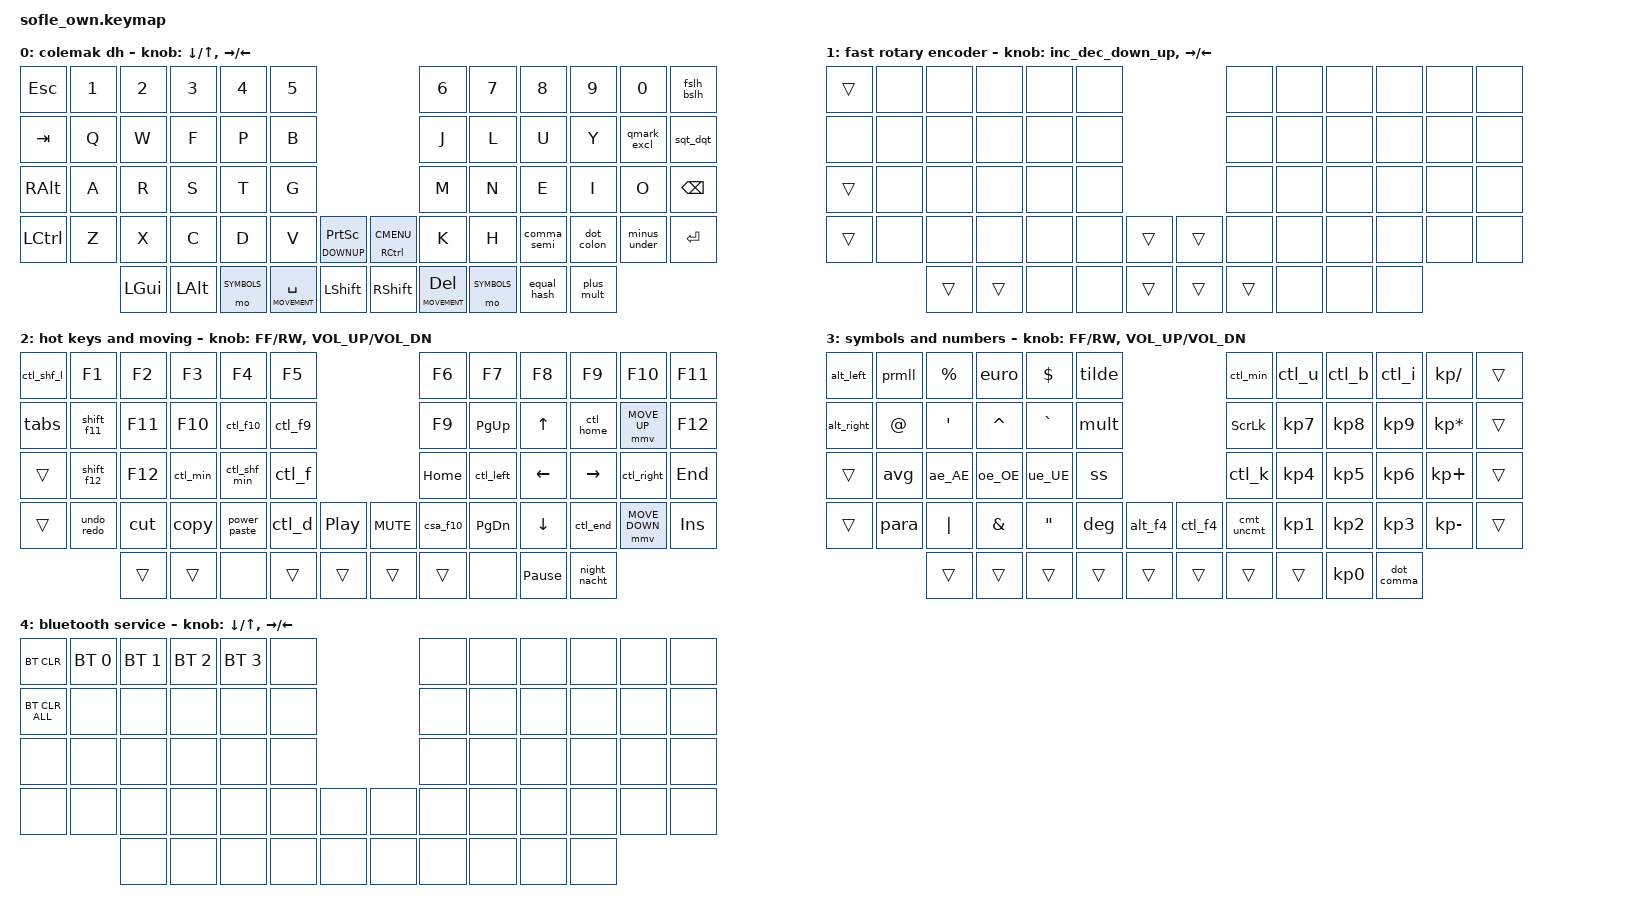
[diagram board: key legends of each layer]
/*
 * Copyright (c) 2020 The ZMK Contributors
 *
 * SPDX-License-Identifier: MIT
 */

#include <behaviors.dtsi>
#include <dt-bindings/zmk/keys.h>
#include <dt-bindings/zmk/bt.h>
#include <dt-bindings/zmk/rgb.h>
#include <dt-bindings/zmk/ext_power.h>

#define ZMK_POINTING_DEFAULT_MOVE_VAL 3000  // default: 600
// #define ZMK_POINTING_DEFAULT_SCRL_VAL 20    // default: 10
#include <dt-bindings/zmk/pointing.h> 

#define BASE 0
#define DOWNUP 1
#define MOVEMENT 2
#define SYMBOLS 3
#define SERVICE 4

#define WAIT_MS 10
#define TAP_MS 10

/ {
    macros {
        euro: euro {
            compatible = "zmk,behavior-macro";
            #binding-cells = <0>;
            wait-ms = <WAIT_MS>;
            tap-ms = <TAP_MS>;
            bindings
                = <&macro_press   &kp LALT>
                , <&macro_tap     &kp KP_N0 &kp KP_N1 &kp KP_N2 &kp KP_N8>
                , <&macro_release &kp LALT>
                ;
        };
        ae: ae { //TODO: adjust timing for äöü
            compatible = "zmk,behavior-macro";
            #binding-cells = <0>;
            wait-ms = <WAIT_MS>;
            tap-ms = <TAP_MS>;
            bindings
                = <&macro_press   &kp LALT>
                , <&macro_tap     &kp KP_N0 &kp KP_N2 &kp KP_N2 &kp KP_N8>
                , <&macro_release &kp LALT>
                ;
        };
        oe: oe {
            compatible = "zmk,behavior-macro";
            #binding-cells = <0>;
            wait-ms = <WAIT_MS>;
            tap-ms = <TAP_MS>;
            bindings
                = <&macro_press   &kp LALT>
                , <&macro_tap     &kp KP_N0 &kp KP_N2 &kp KP_N4 &kp KP_N6>
                , <&macro_release &kp LALT>
                ;
        };
        ue: ue {
            compatible = "zmk,behavior-macro";
            #binding-cells = <0>;
            wait-ms = <WAIT_MS>;
            tap-ms = <TAP_MS>;
            bindings
                = <&macro_press   &kp LALT>
                , <&macro_tap     &kp KP_N0 &kp KP_N2 &kp KP_N5 &kp KP_N2>
                , <&macro_release &kp LALT>
                ;
        };
        _AE: _AE {
            compatible = "zmk,behavior-macro";
            #binding-cells = <0>;
            wait-ms = <WAIT_MS>;
            tap-ms = <TAP_MS>;
            bindings
                = <&macro_press   &kp LALT>
                , <&macro_tap     &kp KP_N0 &kp KP_N1 &kp KP_N9 &kp KP_N6>
                , <&macro_release &kp LALT>
                ;
        };
        _OE: _OE {
            compatible = "zmk,behavior-macro";
            #binding-cells = <0>;
            wait-ms = <WAIT_MS>;
            tap-ms = <TAP_MS>;
            bindings
                = <&macro_press   &kp LALT>
                , <&macro_tap     &kp KP_N1 &kp KP_N5 &kp KP_N3>
                , <&macro_release &kp LALT>
                ;
        };
        _UE: _UE {
            compatible = "zmk,behavior-macro";
            #binding-cells = <0>;
            wait-ms = <WAIT_MS>;
            tap-ms = <TAP_MS>;
            bindings
                = <&macro_press   &kp LALT>
                , <&macro_tap     &kp KP_N0 &kp KP_N2 &kp KP_N2 &kp KP_N0>
                , <&macro_release &kp LALT>
                ;
        };
        ss: ss {
            compatible = "zmk,behavior-macro";
            #binding-cells = <0>;
            wait-ms = <WAIT_MS>;
            tap-ms = <TAP_MS>;
            bindings
                = <&macro_press   &kp LALT>
                , <&macro_tap     &kp KP_N0 &kp KP_N2 &kp KP_N2 &kp KP_N3>
                , <&macro_release &kp LALT>
                ;
        };
        avg: avg {
            compatible = "zmk,behavior-macro";
            #binding-cells = <0>;
            wait-ms = <WAIT_MS>;
            tap-ms = <TAP_MS>;
            bindings
                = <&macro_press   &kp LALT>
                , <&macro_tap     &kp KP_N0 &kp KP_N2 &kp KP_N4 &kp KP_N8>
                , <&macro_release &kp LALT>
                ;
        };
        prmll: prmll {
            compatible = "zmk,behavior-macro";
            #binding-cells = <0>;
            wait-ms = <WAIT_MS>;
            tap-ms = <TAP_MS>;
            bindings
                = <&macro_press   &kp LALT>
                , <&macro_tap     &kp KP_N0 &kp KP_N1 &kp KP_N3 &kp KP_N7>
                , <&macro_release &kp LALT>
                ;
        };
        para: para {
            compatible = "zmk,behavior-macro";
            #binding-cells = <0>;
            wait-ms = <WAIT_MS>;
            tap-ms = <TAP_MS>;
            bindings
                = <&macro_press   &kp LALT>
                , <&macro_tap     &kp KP_N2 &kp KP_N1>
                , <&macro_release &kp LALT>
                ;
        };
        mult: mult {
            compatible = "zmk,behavior-macro";
            #binding-cells = <0>;
            wait-ms = <WAIT_MS>;
            tap-ms = <TAP_MS>;
            bindings
                = <&macro_press   &kp LALT>
                , <&macro_tap     &kp KP_N0 &kp KP_N2 &kp KP_N1 &kp KP_N5>
                , <&macro_release &kp LALT>
                ;
        };
        deg: deg {
            compatible = "zmk,behavior-macro";
            #binding-cells = <0>;
            wait-ms = <WAIT_MS>;
            tap-ms = <TAP_MS>;
            bindings
                = <&macro_press   &kp LALT>
                , <&macro_tap     &kp KP_N0 &kp KP_N1 &kp KP_N7 &kp KP_N6>
                , <&macro_release &kp LALT>
                ;
        };
        tick: tick {
            compatible = "zmk,behavior-macro";
            #binding-cells = <0>;
            wait-ms = <WAIT_MS>;
            tap-ms = <TAP_MS>;
            bindings
                = <&macro_press   &kp LALT>
                , <&macro_tap     &kp KP_N2 &kp KP_N3 &kp KP_N9>
                , <&macro_release &kp LALT>
                ;
        };
        alt_f4: alt_f4 {
            compatible = "zmk,behavior-macro";
            #binding-cells = <0>;
            wait-ms = <WAIT_MS>;
            tap-ms = <TAP_MS>;
            bindings
                = <&macro_press   &kp LALT>
                , <&macro_tap     &kp F4>
                , <&macro_release &kp LALT>
                ;
        };
        ctl_f4: ctl_f4 {
            compatible = "zmk,behavior-macro";
            #binding-cells = <0>;
            wait-ms = <WAIT_MS>;
            tap-ms = <TAP_MS>;
            bindings
                = <&macro_press   &kp LCTRL>
                , <&macro_tap     &kp F4>
                , <&macro_release &kp LCTRL>
                ;
        };
        cut: cut {
            compatible = "zmk,behavior-macro";
            #binding-cells = <0>;
            wait-ms = <WAIT_MS>;
            tap-ms = <TAP_MS>;
            bindings
                = <&macro_press   &kp LCTRL>
                , <&macro_tap     &kp X>
                , <&macro_release &kp LCTRL>
                ;
        };
        copy: copy {
            compatible = "zmk,behavior-macro";
            #binding-cells = <0>;
            wait-ms = <WAIT_MS>;
            tap-ms = <TAP_MS>;
            bindings
                = <&macro_press   &kp LCTRL>
                , <&macro_tap     &kp C>
                , <&macro_release &kp LCTRL>
                ;
        };
        paste: paste {
            compatible = "zmk,behavior-macro";
            #binding-cells = <0>;
            wait-ms = <WAIT_MS>;
            tap-ms = <TAP_MS>;
            bindings
                = <&macro_press   &kp LCTRL>
                , <&macro_tap     &kp V>
                , <&macro_release &kp LCTRL>
                ;
        };
        paste_hist: paste_hist {
            compatible = "zmk,behavior-macro";
            #binding-cells = <0>;
            wait-ms = <WAIT_MS>;
            tap-ms = <TAP_MS>;
            bindings
                = <&macro_press   &kp LGUI>
                , <&macro_tap     &kp V>
                , <&macro_release &kp LGUI>
                ;
        };
        undo: undo {
            compatible = "zmk,behavior-macro";
            #binding-cells = <0>;
            wait-ms = <WAIT_MS>;
            tap-ms = <TAP_MS>;
            bindings
                = <&macro_press   &kp LCTRL>
                , <&macro_tap     &kp Z>
                , <&macro_release &kp LCTRL>
                ;
        };
        redo: redo {
            compatible = "zmk,behavior-macro";
            #binding-cells = <0>;
            wait-ms = <WAIT_MS>;
            tap-ms = <TAP_MS>;
            bindings
                = <&macro_press   &kp LCTRL>
                , <&macro_tap     &kp Y>
                , <&macro_release &kp LCTRL>
                ;
        };
        alt_left: alt_left {
            compatible = "zmk,behavior-macro";
            #binding-cells = <0>;
            wait-ms = <WAIT_MS>;
            tap-ms = <TAP_MS>;
            bindings
                = <&macro_press   &kp LALT>
                , <&macro_tap     &kp LEFT>
                , <&macro_release &kp LALT>
                ;
        };
        alt_right: alt_right {
            compatible = "zmk,behavior-macro";
            #binding-cells = <0>;
            wait-ms = <WAIT_MS>;
            tap-ms = <TAP_MS>;
            bindings
                = <&macro_press   &kp LALT>
                , <&macro_tap     &kp RIGHT>
                , <&macro_release &kp LALT>
                ;
        };
        ctl_left: ctl_left {
            compatible = "zmk,behavior-macro";
            #binding-cells = <0>;
            wait-ms = <WAIT_MS>;
            tap-ms = <TAP_MS>;
            bindings
                = <&macro_press   &kp LCTRL>
                , <&macro_tap     &kp LEFT>
                , <&macro_release &kp LCTRL>
                ;
        };
        ctl_right: ctl_right {
            compatible = "zmk,behavior-macro";
            #binding-cells = <0>;
            wait-ms = <WAIT_MS>;
            tap-ms = <TAP_MS>;
            bindings
                = <&macro_press   &kp LCTRL>
                , <&macro_tap     &kp RIGHT>
                , <&macro_release &kp LCTRL>
                ;
        };
        ctl_home: ctl_home {
            compatible = "zmk,behavior-macro";
            #binding-cells = <0>;
            wait-ms = <WAIT_MS>;
            tap-ms = <TAP_MS>;
            bindings
                = <&macro_press   &kp LCTRL>
                , <&macro_tap     &kp HOME>
                , <&macro_release &kp LCTRL>
                ;
        };
        ctl_end: ctl_end {
            compatible = "zmk,behavior-macro";
            #binding-cells = <0>;
            wait-ms = <WAIT_MS>;
            tap-ms = <TAP_MS>;
            bindings
                = <&macro_press   &kp LCTRL>
                , <&macro_tap     &kp END>
                , <&macro_release &kp LCTRL>
                ;
        };
        left8: left8 {
            compatible = "zmk,behavior-macro";
            #binding-cells = <0>;
            wait-ms = <WAIT_MS>;
            tap-ms = <TAP_MS>;
            bindings
                = <&macro_tap     &kp LEFT>
                , <&macro_tap     &kp LEFT>
                , <&macro_tap     &kp LEFT>
                , <&macro_tap     &kp LEFT>
                , <&macro_tap     &kp LEFT>
                , <&macro_tap     &kp LEFT>
                , <&macro_tap     &kp LEFT>
                , <&macro_tap     &kp LEFT>
                ;
        };
        right8: right8 {
            compatible = "zmk,behavior-macro";
            #binding-cells = <0>;
            wait-ms = <WAIT_MS>;
            tap-ms = <TAP_MS>;
            bindings
                = <&macro_tap     &kp RIGHT>
                , <&macro_tap     &kp RIGHT>
                , <&macro_tap     &kp RIGHT>
                , <&macro_tap     &kp RIGHT>
                , <&macro_tap     &kp RIGHT>
                , <&macro_tap     &kp RIGHT>
                , <&macro_tap     &kp RIGHT>
                , <&macro_tap     &kp RIGHT>
                ;
        };
        up8: up8 {
            compatible = "zmk,behavior-macro";
            #binding-cells = <0>;
            wait-ms = <WAIT_MS>;
            tap-ms = <TAP_MS>;
            bindings
                = <&macro_tap     &kp UP>
                , <&macro_tap     &kp UP>
                , <&macro_tap     &kp UP>
                , <&macro_tap     &kp UP>
                , <&macro_tap     &kp UP>
                , <&macro_tap     &kp UP>
                , <&macro_tap     &kp UP>
                , <&macro_tap     &kp UP>
                ;
        };
        down8: down8 {
            compatible = "zmk,behavior-macro";
            #binding-cells = <0>;
            wait-ms = <WAIT_MS>;
            tap-ms = <TAP_MS>;
            bindings
                = <&macro_tap     &kp DOWN>
                , <&macro_tap     &kp DOWN>
                , <&macro_tap     &kp DOWN>
                , <&macro_tap     &kp DOWN>
                , <&macro_tap     &kp DOWN>
                , <&macro_tap     &kp DOWN>
                , <&macro_tap     &kp DOWN>
                , <&macro_tap     &kp DOWN>
                ;
        };
        ctl_f9: ctl_f9 {
            compatible = "zmk,behavior-macro";
            #binding-cells = <0>;
            wait-ms = <WAIT_MS>;
            tap-ms = <TAP_MS>;
            bindings
                = <&macro_press   &kp LCTRL>
                , <&macro_tap     &kp F9>
                , <&macro_release &kp LCTRL>
                ;
        };
        ctl_f10: ctl_f10 {
            compatible = "zmk,behavior-macro";
            #binding-cells = <0>;
            wait-ms = <WAIT_MS>;
            tap-ms = <TAP_MS>;
            bindings
                = <&macro_press   &kp LCTRL>
                , <&macro_tap     &kp F10>
                , <&macro_release &kp LCTRL>
                ;
        };
        csa_f10: csa_f10 {
            compatible = "zmk,behavior-macro";
            #binding-cells = <0>;
            wait-ms = <WAIT_MS>;
            tap-ms = <TAP_MS>;
            bindings
                = <&macro_press   &kp LCTRL>
                , <&macro_press   &kp LSHFT>
                , <&macro_press   &kp LALT>
                , <&macro_tap     &kp F10>
                , <&macro_release &kp LALT>
                , <&macro_release &kp LSHFT>
                , <&macro_release &kp LCTRL>
                ;
        };
        shift_f11: shift_f11 {
            compatible = "zmk,behavior-macro";
            #binding-cells = <0>;
            wait-ms = <WAIT_MS>;
            tap-ms = <TAP_MS>;
            bindings
                = <&macro_press   &kp LSHFT>
                , <&macro_tap     &kp F11>
                , <&macro_release &kp LSHFT>
                ;
        };
        shift_f12: shift_f12 {
            compatible = "zmk,behavior-macro";
            #binding-cells = <0>;
            wait-ms = <WAIT_MS>;
            tap-ms = <TAP_MS>;
            bindings
                = <&macro_press   &kp LSHFT>
                , <&macro_tap     &kp F12>
                , <&macro_release &kp LSHFT>
                ;
        };
        ctl_min: ctl_min {
            compatible = "zmk,behavior-macro";
            #binding-cells = <0>;
            wait-ms = <WAIT_MS>;
            tap-ms = <TAP_MS>;
            bindings
                = <&macro_press   &kp LCTRL>
                , <&macro_tap     &kp MINUS>
                , <&macro_release &kp LCTRL>
                ;
        };
        ctl_shf_min: ctl_shf_min {
            compatible = "zmk,behavior-macro";
            #binding-cells = <0>;
            wait-ms = <WAIT_MS>;
            tap-ms = <TAP_MS>;
            bindings
                = <&macro_press   &kp LCTRL>
                , <&macro_press   &kp LSHFT>
                , <&macro_tap     &kp MINUS>
                , <&macro_release &kp LSHFT>
                , <&macro_release &kp LCTRL>
                ;
        };
        ctl_shf_l: ctl_shf_l {
            compatible = "zmk,behavior-macro";
            #binding-cells = <0>;
            wait-ms = <WAIT_MS>;
            tap-ms = <TAP_MS>;
            bindings
                = <&macro_press   &kp LCTRL>
                , <&macro_press   &kp LSHFT>
                , <&macro_tap     &kp L>
                , <&macro_release &kp LSHFT>
                , <&macro_release &kp LCTRL>
                ;
        };
        ctl_f: ctl_f {
            compatible = "zmk,behavior-macro";
            #binding-cells = <0>;
            wait-ms = <WAIT_MS>;
            tap-ms = <TAP_MS>;
            bindings
                = <&macro_press   &kp LCTRL>
                , <&macro_tap     &kp F>
                , <&macro_release &kp LCTRL>
                ;
        };
        ctl_d: ctl_d {
            compatible = "zmk,behavior-macro";
            #binding-cells = <0>;
            wait-ms = <WAIT_MS>;
            tap-ms = <TAP_MS>;
            bindings
                = <&macro_press   &kp LCTRL>
                , <&macro_tap     &kp D>
                , <&macro_release &kp LCTRL>
                ;
        };
        ctl_u: ctl_u {
            compatible = "zmk,behavior-macro";
            #binding-cells = <0>;
            wait-ms = <WAIT_MS>;
            tap-ms = <TAP_MS>;
            bindings
                = <&macro_press   &kp LCTRL>
                , <&macro_tap     &kp U>
                , <&macro_release &kp LCTRL>
                ;
        };
        ctl_b: ctl_b {
            compatible = "zmk,behavior-macro";
            #binding-cells = <0>;
            wait-ms = <WAIT_MS>;
            tap-ms = <TAP_MS>;
            bindings
                = <&macro_press   &kp LCTRL>
                , <&macro_tap     &kp B>
                , <&macro_release &kp LCTRL>
                ;
        };
        ctl_i: ctl_i {
            compatible = "zmk,behavior-macro";
            #binding-cells = <0>;
            wait-ms = <WAIT_MS>;
            tap-ms = <TAP_MS>;
            bindings
                = <&macro_press   &kp LCTRL>
                , <&macro_tap     &kp I>
                , <&macro_release &kp LCTRL>
                ;
        };
        ctl_k: ctl_k {
            compatible = "zmk,behavior-macro";
            #binding-cells = <0>;
            wait-ms = <WAIT_MS>;
            tap-ms = <TAP_MS>;
            bindings
                = <&macro_press   &kp LCTRL>
                , <&macro_tap     &kp K>
                , <&macro_release &kp LCTRL>
                ;
        };
        ctl_k_c: ctl_k_c {
            compatible = "zmk,behavior-macro";
            #binding-cells = <0>;
            wait-ms = <WAIT_MS>;
            tap-ms = <TAP_MS>;
            bindings
                = <&macro_press   &kp LCTRL>
                , <&macro_tap     &kp K>
                , <&macro_tap     &kp C>
                , <&macro_release &kp LCTRL>
                ;
        };
        ctl_k_u: ctl_k_u {
            compatible = "zmk,behavior-macro";
            #binding-cells = <0>;
            wait-ms = <WAIT_MS>;
            tap-ms = <TAP_MS>;
            bindings
                = <&macro_press   &kp LCTRL>
                , <&macro_tap     &kp K>
                , <&macro_tap     &kp U>
                , <&macro_release &kp LCTRL>
                ;
        };
        nacht: nacht {
            compatible = "zmk,behavior-macro";
            #binding-cells = <0>;
            wait-ms = <WAIT_MS>;
            tap-ms = <TAP_MS>;
            bindings
                = <&macro_wait_time 300>
                , <&kp LGUI>
                , <&macro_wait_time WAIT_MS>
                , <&kp N &kp A &kp C &kp H &kp T &kp M &kp O &kp D &kp U &kp S>
                ;
        };
        night: night {
            compatible = "zmk,behavior-macro";
            #binding-cells = <0>;
            wait-ms = <WAIT_MS>;
            tap-ms = <TAP_MS>;
            bindings
                = <&macro_wait_time 300>
                , <&kp LGUI>
                , <&macro_wait_time WAIT_MS>
                , <&kp N &kp I &kp G &kp H &kp T>
                ;
        };
        tabs: tabs {
            compatible = "zmk,behavior-macro";
            #binding-cells = <0>;
            wait-ms = <WAIT_MS>;
            tap-ms = <TAP_MS>;
            bindings
                = <&kp TAB &kp TAB &kp TAB &kp TAB &kp TAB>
                ;
        };
        sqt_space: sqt_space {
            compatible = "zmk,behavior-macro";
            #binding-cells = <0>;
            wait-ms = <WAIT_MS>;
            tap-ms = <TAP_MS>;
            bindings
                = <&kp SQT &kp SPACE>
                ;
        };
        dqt_space: dqt_space {
            compatible = "zmk,behavior-macro";
            #binding-cells = <0>;
            wait-ms = <WAIT_MS>;
            tap-ms = <TAP_MS>;
            bindings
                = <&kp DQT &kp SPACE>
                ;
        };
        tilde: tilde {
            compatible = "zmk,behavior-macro";
            #binding-cells = <0>;
            wait-ms = <WAIT_MS>;
            tap-ms = <TAP_MS>;
            bindings
                = <&kp TILDE &kp SPACE>
                ;
        };
    };
};

/ {
    behaviors {
        power_paste: power_paste {
            compatible = "zmk,behavior-mod-morph";
            #binding-cells = <0>;
            bindings = <&paste>, <&paste_hist>;
            mods = <(MOD_LSFT|MOD_RSFT)>;
        };
        night_nacht: night_nacht {
            compatible = "zmk,behavior-mod-morph";
            #binding-cells = <0>;
            bindings = <&night>, <&nacht>;
            mods = <(MOD_LSFT|MOD_RSFT)>;
        };
        ae_AE: ae_AE {
            compatible = "zmk,behavior-mod-morph";
            #binding-cells = <0>;
            bindings = <&ae>, <&_AE>;
            mods = <(MOD_LSFT|MOD_RSFT)>;
        };
        oe_OE: oe_OE {
            compatible = "zmk,behavior-mod-morph";
            #binding-cells = <0>;
            bindings = <&oe>, <&_OE>;
            mods = <(MOD_LSFT|MOD_RSFT)>;
        };
        ue_UE: ue_UE {
            compatible = "zmk,behavior-mod-morph";
            #binding-cells = <0>;
            bindings = <&ue>, <&_UE>;
            mods = <(MOD_LSFT|MOD_RSFT)>;
        };
        mo_tog: behavior_mo_tog {
            compatible = "zmk,behavior-hold-tap";
            #binding-cells = <2>;
            flavor = "hold-preferred";
            tapping-term-ms = <200>;
            bindings = <&mo>, <&tog>;
        };
        comma_semi: comma_semi {
            compatible = "zmk,behavior-mod-morph";
            #binding-cells = <0>;
            bindings = <&kp COMMA>, <&kp SEMI>;
            mods = <(MOD_LSFT|MOD_RSFT)>;
        };
        dot_colon: dot_colon {
            compatible = "zmk,behavior-mod-morph";
            #binding-cells = <0>;
            bindings = <&kp DOT>, <&kp COLON>;
            mods = <(MOD_LSFT|MOD_RSFT)>;
        };
        fslh_bslh: fslh_bslh {
            compatible = "zmk,behavior-mod-morph";
            #binding-cells = <0>;
            bindings = <&kp KP_SLASH>, <&kp BSLH>;
            mods = <(MOD_LSFT|MOD_RSFT)>;
        };
        qmark_excl: qmark_excl {
            compatible = "zmk,behavior-mod-morph";
            #binding-cells = <0>;
            bindings = <&kp QMARK>, <&kp EXCL>;
            mods = <(MOD_LSFT|MOD_RSFT)>;
        };
        sqt_dqt: sqt_dqt {
            compatible = "zmk,behavior-mod-morph";
            #binding-cells = <0>;
            bindings = <&sqt_space>, <&dqt_space>;
            mods = <(MOD_LSFT|MOD_RSFT)>;
        };
        minus_under: minus_under {
            compatible = "zmk,behavior-mod-morph";
            #binding-cells = <0>;
            bindings = <&kp MINUS>, <&kp UNDER>;
            mods = <(MOD_LSFT|MOD_RSFT)>;
        };
        equal_hash: equal_hash {
            compatible = "zmk,behavior-mod-morph";
            #binding-cells = <0>;
            bindings = <&kp EQUAL>, <&kp HASH>;
            mods = <(MOD_LSFT|MOD_RSFT)>;
        };
        plus_mult: plus_mult {
            compatible = "zmk,behavior-mod-morph";
            #binding-cells = <0>;
            bindings = <&kp KP_PLUS>, <&kp KP_MULTIPLY>;
            mods = <(MOD_LSFT|MOD_RSFT)>;
        };
        dot_comma: dot_comma {
            compatible = "zmk,behavior-mod-morph";
            #binding-cells = <0>;
            bindings = <&kp DOT>, <&kp COMMA>;
            mods = <(MOD_LSFT|MOD_RSFT)>;
        };
        undo_redo: undo_redo {
            compatible = "zmk,behavior-mod-morph";
            #binding-cells = <0>;
            bindings = <&undo>, <&redo>;
            mods = <(MOD_LSFT|MOD_RSFT)>;
        };
        cmt_uncmt: cmt_uncmt {
            compatible = "zmk,behavior-mod-morph";
            #binding-cells = <0>;
            bindings = <&ctl_k_c>, <&ctl_k_u>;
            mods = <(MOD_LSFT|MOD_RSFT)>;
        };
        inc_dec_down_up: inc_dec_down_up {
            compatible = "zmk,behavior-sensor-rotate";
            #sensor-binding-cells = <0>;
            bindings = <&down8>, <&up8>;
        };   
    };
};

/ {
    combos {
        compatible = "zmk,combos";
        combo0 { key-positions = <7 8>; bindings = <&kp LT>;    timeout-ms = <50>; layers = <0>;};  // < 
        combo1 { key-positions = <8 9>; bindings = <&kp GT>;    timeout-ms = <50>; layers = <0>;};  // >
        combo2 { key-positions = <19 20>; bindings = <&kp LBKT>;  timeout-ms = <50>; layers = <0>;};  // [
        combo3 { key-positions = <20 21>; bindings = <&kp RBKT>;  timeout-ms = <50>; layers = <0>;};  // ]
        combo4 { key-positions = <45 46>; bindings = <&kp LPAR>;  timeout-ms = <50>; layers = <0>;};  // (
        combo5 { key-positions = <46 47>; bindings = <&kp RPAR>;  timeout-ms = <50>; layers = <0>;};  // )
        combo6 { key-positions = <57 58>; bindings = <&kp LBRC>;  timeout-ms = <50>; layers = <0>;};  // {
        combo7 { key-positions = <58 59>; bindings = <&kp RBRC>;  timeout-ms = <50>; layers = <0>;};  // }

        combo8 { key-positions = <54 55>; bindings = <&caps_word>;  timeout-ms = <50>; layers = <0>;};  // both shift kezs for caps word

        combo9 { key-positions = <42 54>; bindings = <&mo SERVICE>;  timeout-ms = <100>; layers = <0>;};  // left encoder and left big key for BT etc.
    };
};
    
&lt {
    tapping-term-ms = <170>; // 200 is the default
};

/ {

    keymap {
        compatible = "zmk,keymap";
        default_layer {
            display-name = "colemak dh";
// ------------------------------------------------------------------------------------------------------------
// |  ESC  |  1  |  2  |  3   |  4   |  5   |                   |  6   |  7    |  8    |  9   |   0   | //\   |
// |  TAB  |  Q  |  W  |  F   |  P   |  B   |                   |  J   |  L    |  U    |  Y   |   ?/! | '/"   |
// |  RALT |  A  |  R  |  S   |  T   |  G   |                   |  M   |  N    |  E    |  I   |   O   | BKSPC |
// | LCTRL |  Z  |  X  |  C   |  D   |  V   |  PRINT |  | CTX   |  K   |  N    |  ,/;  |  ./: |   -/_ |  DEL  |
//               | WIN | ALT  |SYMBLS| SPACE| LSHFT  |  | RSHFT | RET} | NUMS* |  =/#  |  +/* |
            bindings = <
&kp ESC   &kp N1 &kp N2   &kp N3   &kp N4      &kp N5                                                 &kp N6            &kp N7      &kp N8      &kp N9     &kp N0       &fslh_bslh
&kp TAB   &kp Q  &kp W    &kp F    &kp P       &kp B                                                  &kp J             &kp L       &kp U       &kp Y      &qmark_excl  &sqt_dqt
&kp RALT  &kp A  &kp R    &kp S    &kp T       &kp G                                                  &kp M             &kp N       &kp E       &kp I      &kp O        &kp BSPC
&kp LCTRL &kp Z  &kp X    &kp C    &kp D       &kp V               &lt DOWNUP PSCRN &mt RCTRL K_CMENU &kp K             &kp H       &comma_semi &dot_colon &minus_under &kp RET
                 &kp LGUI &kp LALT &mo SYMBOLS &lt MOVEMENT SPACE  &kp LSHFT        &kp RSHFT         &lt MOVEMENT DEL  &mo SYMBOLS &equal_hash &plus_mult
            >;
            sensor-bindings = <&inc_dec_kp DOWN UP &inc_dec_kp RIGHT LEFT>;
        };

        down_up_layer {
            display-name = "fast rotary encoder";
// -----------------------------------------------------------------------------------------------------------
// |   t  |      |      |       |       |      |                |      |      |       |      |       |       |
// |      |      |      |       |       |      |                |      |      |       |      |       |       |
// |      |      |      |       |       |      |                |      |      |       |      |       |       |
// |   t  |      |      |       |       |      |                |      |      |       |      |       |       |
//               |      |       |       |      |      |  |      |      |      |       |      |
            bindings = <
&trans     &none        &none        &none        &none        &none                         &none     &none     &none    &none     &none   &none
&none      &none        &none        &none        &none        &none                         &none     &none     &none    &none     &none   &none
&trans     &none        &none        &none        &none        &none                         &none     &none     &none    &none     &none   &none
&trans     &none        &none        &none        &none        &none    &trans     &trans    &none     &none     &none    &none     &none   &none
                        &trans       &trans       &none        &none    &trans     &trans    &trans    &none     &none    &none
            >;
            sensor-bindings = <&inc_dec_down_up &inc_dec_kp RIGHT LEFT>;
        };

        movement_layer {
            display-name = "hot keys and moving";
// ------------------------------------------------------------------------------------------------------------
// | cs_l  |  F1  |  F2  |  F3   |  F4   |  F5  |                |  F6  |  F7  |   F8  |  F9   |  F10  |  F11  |
// | Tabs  |shfF11|  F11 |  F10  |ctl-F10|ctl-F9|                |  F9  | PGUP |   ^   |ctlHome|  MS ^ |  F12  |
// |   t   |shfF12|  F12 |ctlMin |ctshMin|ctl-F |                | HOME |ctl <-|   <-  |  ->   |ctl -> |  END  |
// |   t   | UNDO | CUT  | COPY  | PASTE |ctl-D |   t  |  |   t  |csaF10| PGDN |   v   |ctlEnd |  MS v |  INS  |
//                |  t   |   t   |   t   |   t  |   t  |  |   t  |   t  |      | BREAK | Nacht |
            bindings = <
&ctl_shf_l &kp F1       &kp F2       &kp F3       &kp F4       &kp F5                               &kp F6   &kp F7    &kp F8    &kp F9     &kp F10        &kp F11
&tabs      &shift_f11   &kp F11      &kp F10      &ctl_f10     &ctl_f9                              &kp F9   &kp PG_UP &kp UP    &ctl_home  &mmv MOVE_UP   &kp F12
&trans     &shift_f12   &kp F12      &ctl_min     &ctl_shf_min &ctl_f                               &kp HOME &ctl_left &kp LEFT  &kp RIGHT  &ctl_right     &kp END
&trans     &undo_redo   &cut         &copy        &power_paste &ctl_d  &kp C_PLAY_PAUSE &kp C_MUTE  &csa_f10 &kp PG_DN &kp DOWN  &ctl_end   &mmv MOVE_DOWN &kp INS  
                        &trans       &trans       &none        &trans  &trans           &trans      &trans   &none     &kp PAUSE_BREAK  &night_nacht
            >;
            sensor-bindings = <&inc_dec_kp C_FF C_RW &inc_dec_kp C_VOL_UP C_VOL_DN>;
        };

        symbol_layer {
            display-name = "symbols and numbers";
// (d) ... dead key in ENG-US-INTERNATIONAL
// -------------------------------------------------------------------------------------------------------------------------
// | alt <- |    ‰    |     %   |    €    |     $   |    ~    |               |strike|under | bold  |italic|   /   |   t   |
// | alt -> |    @    |     '(d)|    ^(d) |     `(d)|    ×    |               | SLCK |   7  |   8   |  9   |   *   |   t   |
// |    t   |    ø    |     ä   |    ö    |     ü   |    ß    |               |bookm.|   4  |   5   |  6   |   +   |   t   |
// |    t   |    §    |     |   |    &    |     "(d)|    °    |alt_f4| |ctl_f4| cmmt |   1  |   2   |  3   |   -   |   t   |
//                    |     t   |    t    |     t   |    t    |   t  | |   t  |   t  |   t  |   0   |  ./, |
            bindings = <
&alt_left  &prmll       &kp PRCNT &euro     &kp DLLR  &tilde                                  &ctl_min   &ctl_u    &ctl_b    &ctl_i    &kp KP_DIVIDE   &trans
&alt_right &kp AT       &kp SQT   &kp CARET &kp GRAVE &mult                                   &kp SLCK   &kp KP_N7 &kp KP_N8 &kp KP_N9 &kp KP_MULTIPLY &trans
&trans     &avg         &ae_AE    &oe_OE    &ue_UE    &ss                                     &ctl_k     &kp KP_N4 &kp KP_N5 &kp KP_N6 &kp KP_PLUS     &trans
&trans     &para        &kp PIPE  &kp AMPS  &kp DQT   &deg    &alt_f4   &ctl_f4    &cmt_uncmt &kp KP_N1 &kp KP_N2 &kp KP_N3 &kp KP_MINUS    &trans
                        &trans    &trans    &trans    &trans  &trans    &trans     &trans     &trans    &kp KP_N0 &dot_comma
            >;
            sensor-bindings = <&inc_dec_kp C_FF C_RW &inc_dec_kp C_VOL_UP C_VOL_DN>;
        };

        service_layer {
            display-name = "bluetooth service";
// ----------------------------------------------------------------------------------------------------------------------------
// | BTCLR  |  BT1    |  BT2    |   BT3   |   BT4   |         |                  |      |      |       |      |       |       |
// | CLR ALL|         |         |         |         |         |                  |      |      |       |      |       |       |
// |        |         |         |         |         |         |                  |      |      |       |      |       |       |
// |        |         |         |         |         |         |         | |      |      |      |       |      |       |       |
//                    |         |         |         |         |         | |      |      |      |       |      |
            bindings = <
&bt BT_CLR     &bt BT_SEL 0 &bt BT_SEL 1 &bt BT_SEL 2 &bt BT_SEL 3 &none             &none &none &none &none &none  &none
&bt BT_CLR_ALL &none        &none        &none        &none        &none             &none &none &none &none &none  &none
&none          &none        &none        &none        &none        &none             &none &none &none &none &none  &none
&none          &none        &none        &none        &none        &none &none &none &none &none &none &none &none  &none
                            &none        &none        &none        &none &none &none &none &none &none &none
            >;
            sensor-bindings = <&inc_dec_kp DOWN UP &inc_dec_kp RIGHT LEFT>;
        };

    };
};
